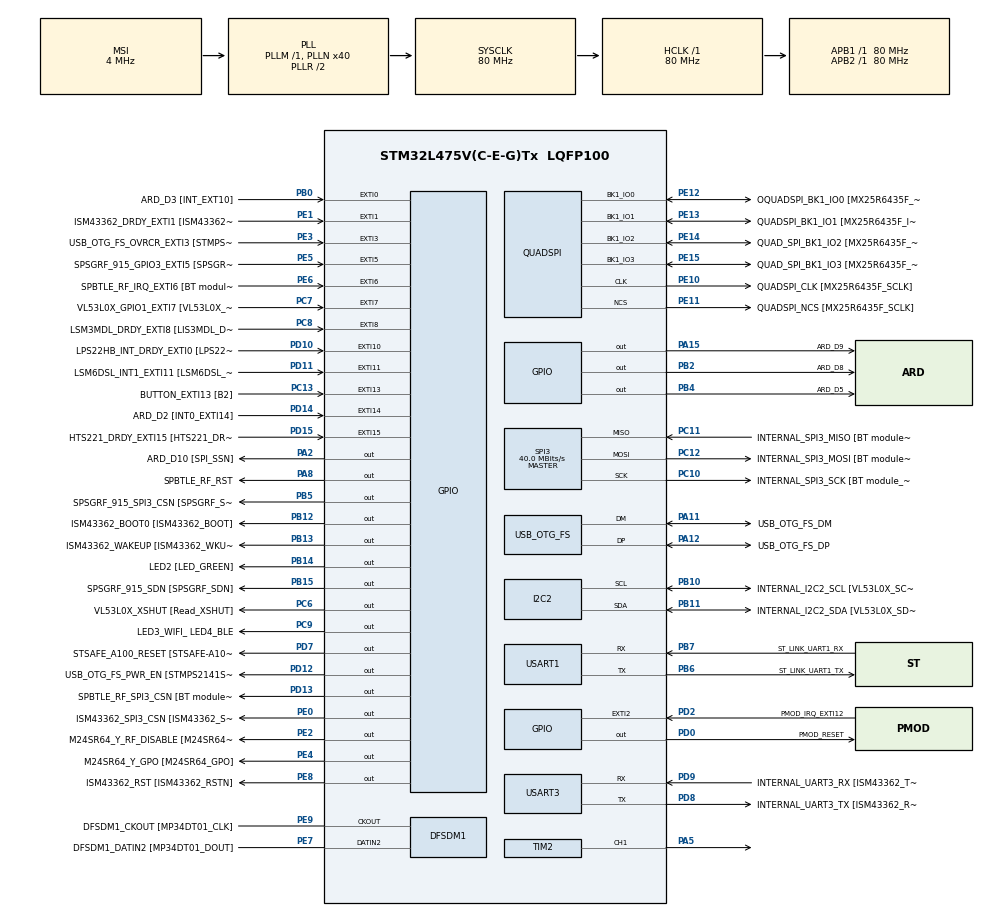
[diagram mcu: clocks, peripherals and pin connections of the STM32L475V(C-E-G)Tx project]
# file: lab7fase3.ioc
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Mcu.Family=STM32L4
Mcu.Name=STM32L475V(C-E-G)Tx
Mcu.Package=LQFP100
NVIC.EXTI15_10_IRQn=true\:0\:0\:false\:false\:true\:true\:true\:true
NVIC.EXTI9_5_IRQn=true\:0\:0\:false\:false\:true\:true\:true\:true
NVIC.OTG_FS_IRQn=true\:0\:0\:false\:false\:true\:true\:true\:true
NVIC.PriorityGroup=NVIC_PRIORITYGROUP_4
PA0.GPIO_Label=ARD_D1 [UART4_TX]
PA0.Signal=UART4_TX
PA1.GPIO_Label=ARD_D0 [UART4_RX]
PA1.Signal=UART4_RX
PA10.GPIO_Label=USB_OTG_FS_ID
PA10.Signal=USB_OTG_FS_ID
PA11.GPIO_Label=USB_OTG_FS_DM
PA11.Mode=Device_Only
PA11.Signal=USB_OTG_FS_DM
PA12.GPIO_Label=USB_OTG_FS_DP
PA12.Mode=Device_Only
PA12.Signal=USB_OTG_FS_DP
PA13\ (JTMS-SWDIO).GPIO_Label=SYS_JTMS_SWDIO
PA13\ (JTMS-SWDIO).Mode=Serial_Wire
PA13\ (JTMS-SWDIO).Signal=SYS_JTMS-SWDIO
PA14\ (JTCK-SWCLK).GPIO_Label=SYS_JTCK_SWCLK
PA14\ (JTCK-SWCLK).Mode=Serial_Wire
PA14\ (JTCK-SWCLK).Signal=SYS_JTCK-SWCLK
PA15\ (JTDI).GPIO_Label=ARD_D9
PA15\ (JTDI).Signal=GPIO_Output
PA2.GPIO_Label=ARD_D10 [SPI_SSN]
PA2.Signal=GPIO_Output
PA3.GPIO_Label=ARD_D4
PA3.Signal=S_TIM2_CH4
PA4.GPIO_Label=ARD_D7
PA4.Signal=ADCx_IN9
PA5.Signal=S_TIM2_CH1
PA6.GPIO_Label=ARD_D12 [SPI1_MISO]
PA6.Signal=SPI1_MISO
PA7.GPIO_Label=ARD_D11 [SPI1_MOSI]
PA7.Signal=SPI1_MOSI
PA8.GPIO_Label=SPBTLE_RF_RST
PA8.Signal=GPIO_Output
PA9.GPIO_Label=USB_OTG_FS_VBUS [STMPS2141STR_OUT]
PA9.Signal=USB_OTG_FS_VBUS
PB0.GPIO_Label=ARD_D3 [INT_EXT10]
PB0.Signal=GPXTI0
PB1.GPIO_Label=ARD_D6 [ADC1_IN6]
PB1.Signal=ADCx_IN16
PB10.GPIO_Label=INTERNAL_I2C2_SCL [VL53L0X_SCL]
PB10.GPIO_Pu=GPIO_PULLUP
PB10.Mode=I2C
PB10.Signal=I2C2_SCL
PB11.GPIO_Label=INTERNAL_I2C2_SDA [VL53L0X_SDA]
PB11.GPIO_Pu=GPIO_PULLUP
PB11.Mode=I2C
PB11.Signal=I2C2_SDA
PB12.GPIO_Label=ISM43362_BOOT0 [ISM43362_BOOT]
PB12.Signal=GPIO_Output
PB13.GPIO_Label=ISM43362_WAKEUP [ISM43362_WKUP]
PB13.Signal=GPIO_Output
PB14.GPIO_Label=LED2 [LED_GREEN]
PB14.Signal=GPIO_Output
PB15.GPIO_Label=SPSGRF_915_SDN [SPSGRF_SDN]
PB15.Signal=GPIO_Output
PB2.GPIO_Label=ARD_D8
PB2.Signal=GPIO_Output
PB3\ (JTDO-TRACESWO).GPIO_Label=SYS_JTD0_SWO
PB3\ (JTDO-TRACESWO).Signal=SYS_JTDO-SWO
PB4\ (NJTRST).GPIO_Label=ARD_D5
PB4\ (NJTRST).Signal=GPIO_Output
PB5.GPIO_Label=SPSGRF_915_SPI3_CSN [SPSGRF_SPI_CS]
PB5.PinState=GPIO_PIN_SET
PB5.Signal=GPIO_Output
PB6.GPIO_Label=ST_LINK_UART1_TX
PB6.Mode=Asynchronous
PB6.Signal=USART1_TX
PB7.GPIO_Label=ST_LINK_UART1_RX
PB7.Mode=Asynchronous
PB7.Signal=USART1_RX
PB8.GPIO_Label=ARD_D15 [I2C1_SCL]
PB8.Signal=I2C1_SCL
PB9.GPIO_Label=ARD_D14 [I2C1_SDA]
PB9.Signal=I2C1_SDA
PC0.GPIO_Label=ARD_A5 [ADC]
PC0.Signal=ADCx_IN1
PC1.GPIO_Label=ARD_A4 [ADC]
PC1.Signal=ADCx_IN2
PC10.GPIO_Label=INTERNAL_SPI3_SCK [BT module_SPI_SCLK] [ISM43362_SCK]
PC10.Mode=Full_Duplex_Master
PC10.Signal=SPI3_SCK
PC11.GPIO_Label=INTERNAL_SPI3_MISO [BT module_SPI_MISO] [ISM43362_MISO]
PC11.Mode=Full_Duplex_Master
PC11.Signal=SPI3_MISO
PC12.GPIO_Label=INTERNAL_SPI3_MOSI [BT module_SPI_MOSI] [ISM43362_MOSI]
PC12.Mode=Full_Duplex_Master
PC12.Signal=SPI3_MOSI
PC13.GPIO_Label=BUTTON_EXTI13 [B2]
PC13.GPIO_ModeDefaultEXTI=GPIO_MODE_IT_FALLING
PC13.Signal=GPXTI13
PC14-OSC32_IN\ (PC14).Mode=LSE-External-Oscillator
PC14-OSC32_IN\ (PC14).Signal=RCC_OSC32_IN
PC15-OSC32_OUT\ (PC15).Mode=LSE-External-Oscillator
PC15-OSC32_OUT\ (PC15).Signal=RCC_OSC32_OUT
PC2.GPIO_Label=ARD_A3 [ADC]
PC2.Signal=ADCx_IN3
PC3.GPIO_Label=ARD_A2 [ADC]
PC3.Signal=ADCx_IN4
PC4.GPIO_Label=ARD_A1 [ADC]
PC4.Signal=ADCx_IN13
PC5.GPIO_Label=ARD_A0 [ADC]
PC5.Signal=ADCx_IN14
PC6.GPIO_Label=VL53L0X_XSHUT [Read_XSHUT]
PC6.Signal=GPIO_Output
PC7.GPIO_Label=VL53L0X_GPIO1_EXTI7 [VL53L0X_GPIO1]
PC7.Signal=GPXTI7
PC8.GPIO_Label=LSM3MDL_DRDY_EXTI8 [LIS3MDL_DRDY]
PC8.Signal=GPXTI8
PC9.GPIO_Label=LED3_WIFI_ LED4_BLE
PC9.Signal=GPIO_Output
PD0.GPIO_Label=PMOD_RESET
PD0.Signal=GPIO_Output
PD1.GPIO_Label=PMOD_SPI2_SCK
PD1.Signal=SPI2_SCK
PD10.GPIO_Label=LPS22HB_INT_DRDY_EXTI0 [LPS22HB_INT_DRDY] 
PD10.Signal=GPXTI10
PD11.GPIO_Label=LSM6DSL_INT1_EXTI11 [LSM6DSL_INT1]
PD11.Signal=GPXTI11
PD12.GPIO_Label=USB_OTG_FS_PWR_EN [STMPS2141STR_EN]
PD12.Signal=GPIO_Output
PD13.GPIO_Label=SPBTLE_RF_SPI3_CSN [BT module_SPI_CS]
PD13.PinState=GPIO_PIN_SET
PD13.Signal=GPIO_Output
PD14.GPIO_Label=ARD_D2 [INT0_EXTI14]
PD14.Signal=GPXTI14
PD15.GPIO_Label=HTS221_DRDY_EXTI15 [HTS221_DRDY]
PD15.Signal=GPXTI15
PD2.GPIO_Label=PMOD_IRQ_EXTI12
PD2.Signal=GPXTI2
PD3.GPIO_Label=PMOD_UART2_CTS
PD3.Signal=USART2_CTS
PD4.GPIO_Label=PMOD_UART2_RTS
PD4.Signal=USART2_RTS
PD5.GPIO_Label=PMOD_UART2_TX
PD5.Signal=USART2_TX
PD6.GPIO_Label=PMOD_UART2_RX
PD6.Signal=USART2_RX
PD7.GPIO_Label=STSAFE_A100_RESET [STSAFE-A100_RESET]
PD7.Signal=GPIO_Output
PD8.GPIO_Label=INTERNAL_UART3_TX [ISM43362_RX]
PD8.Mode=Asynchronous
PD8.Signal=USART3_TX
PD9.GPIO_Label=INTERNAL_UART3_RX [ISM43362_TX]
PD9.Mode=Asynchronous
PD9.Signal=USART3_RX
PE0.GPIO_Label=ISM43362_SPI3_CSN [ISM43362_SSN]
PE0.PinState=GPIO_PIN_SET
PE0.Signal=GPIO_Output
PE1.GPIO_Label=ISM43362_DRDY_EXTI1 [ISM43362_DATARDY]
PE1.Signal=GPXTI1
PE10.GPIO_Label=QUADSPI_CLK [MX25R6435F_SCLK]
PE10.Mode=Single Bank
PE10.Signal=QUADSPI_CLK
PE11.GPIO_Label=QUADSPI_NCS [MX25R6435F_SCLK]
PE11.Mode=Single Bank
PE11.Signal=QUADSPI_NCS
PE12.GPIO_Label=OQUADSPI_BK1_IO0 [MX25R6435F_IO0]
PE12.Mode=Single Bank
PE12.Signal=QUADSPI_BK1_IO0
PE13.GPIO_Label=QUADSPI_BK1_IO1 [MX25R6435F_IO1]
PE13.Mode=Single Bank
PE13.Signal=QUADSPI_BK1_IO1
PE14.GPIO_Label=QUAD_SPI_BK1_IO2 [MX25R6435F_IO2]
PE14.Mode=Single Bank
PE14.Signal=QUADSPI_BK1_IO2
PE15.GPIO_Label=QUAD_SPI_BK1_IO3 [MX25R6435F_IO3]
PE15.Mode=Single Bank
PE15.Signal=QUADSPI_BK1_IO3
PE2.GPIO_Label=M24SR64_Y_RF_DISABLE [M24SR64_RFDIS]
PE2.Signal=GPIO_Output
PE3.GPIO_Label=USB_OTG_FS_OVRCR_EXTI3 [STMPS2141STR_FAULT]
PE3.Signal=GPXTI3
PE4.GPIO_Label=M24SR64_Y_GPO [M24SR64_GPO]
PE4.Signal=GPIO_Output
PE5.GPIO_Label=SPSGRF_915_GPIO3_EXTI5 [SPSGRF_GPIO_3]
PE5.Signal=GPXTI5
PE6.GPIO_Label=SPBTLE_RF_IRQ_EXTI6 [BT module_SPI_IRQ]
PE6.Signal=GPXTI6
PE7.GPIO_Label=DFSDM1_DATIN2 [MP34DT01_DOUT]
PE7.Signal=S_DATAIN2DFSDM1
PE8.GPIO_Label=ISM43362_RST [ISM43362_RSTN]
PE8.Signal=GPIO_Output
PE9.GPIO_Label=DFSDM1_CKOUT [MP34DT01_CLK]
PE9.Signal=S_CKOUTDFSDM1
ProjectManager.HeapSize=0x200
ProjectManager.StackSize=0x400
ProjectManager.TargetToolchain=STM32CubeIDE
QUADSPI.ClockPrescaler=2
QUADSPI.FifoThreshold=4
QUADSPI.FlashSize=23
QUADSPI.SampleShifting=QSPI_SAMPLE_SHIFTING_HALFCYCLE
RCC.ADCFreq_Value=48000000
RCC.AHBFreq_Value=80000000
RCC.APB1Freq_Value=80000000
RCC.APB1TimFreq_Value=80000000
RCC.APB2Freq_Value=80000000
RCC.APB2TimFreq_Value=80000000
RCC.CortexFreq_Value=80000000
RCC.HCLKFreq_Value=80000000
RCC.HSE_VALUE=8000000
RCC.HSI_VALUE=16000000
RCC.MSI_VALUE=4000000
RCC.PLLN=40
RCC.PLLSAI1N=24
RCC.SYSCLKFreq_VALUE=80000000
RCC.SYSCLKSource=RCC_SYSCLKSOURCE_PLLCLK
RCC.USBFreq_Value=48000000
RCC.VCOOutputFreq_Value=160000000
SH.ADCx_IN1.0=ADC1_IN1
SH.ADCx_IN13.0=ADC1_IN13
SH.ADCx_IN14.0=ADC1_IN14
SH.ADCx_IN16.0=ADC1_IN16
SH.ADCx_IN2.0=ADC1_IN2
SH.ADCx_IN3.0=ADC1_IN3
SH.ADCx_IN4.0=ADC1_IN4
SH.ADCx_IN9.0=ADC1_IN9
SH.S_CKOUTDFSDM1.0=DFSDM1_CKOUT,CKOUT
SH.S_CKOUTDFSDM1.1=DFSDM1_CKOUT,PDM_SPI_Input_from_ch12_and_Internal_Clock
SH.S_DATAIN2DFSDM1.0=DFSDM1_DATIN2,PDM_SPI_Input_from_ch12_and_Internal_Clock
SH.S_TIM2_CH1.0=TIM2_CH1,PWM Generation1 CH1
SH.S_TIM2_CH4.0=TIM2_CH4
SPI3.CalculateBaudRate=40.0 MBits/s
SPI3.Direction=SPI_DIRECTION_2LINES
SPI3.Mode=SPI_MODE_MASTER
SPI3.VirtualType=VM_MASTER
TIM2.Channel-PWM\ Generation1\ CH1=TIM_CHANNEL_1
TIM2.CounterMode=TIM_COUNTERMODE_DOWN
TIM2.Period=1000
USART1.VirtualMode-Asynchronous=VM_ASYNC
USART3.VirtualMode-Asynchronous=VM_ASYNC
USB_DEVICE.CLASS_NAME_FS=CUSTOM_HID
USB_DEVICE.CONFIGURATION_STRING_CUSTOMHID_FS=Midi mio config
USB_DEVICE.INTERFACE_STRING_CUSTOMHID_FS=Midi mio interface
USB_DEVICE.PRODUCT_STRING_CUSTOMHID_FS=Midi mio producto
USB_DEVICE.VirtualMode=CustomHid
USB_DEVICE.VirtualModeFS=Custom_Hid_FS
USB_OTG_FS.VirtualMode=Device_Only
VP_USB_DEVICE_VS_USB_DEVICE_CUSTOM_HID_FS.Mode=CUSTOM_HID_FS
board=B-L475E-IOT01A1

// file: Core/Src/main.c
/* USER CODE BEGIN Header */
/**
  ******************************************************************************
  * @file           : main.c
  * @brief          : Main program body
  ******************************************************************************
  * @attention
  *
  * Copyright (c) 2026 STMicroelectronics.
  * All rights reserved.
  *
  * This software is licensed under terms that can be found in the LICENSE file
  * in the root directory of this software component.
  * If no LICENSE file comes with this software, it is provided AS-IS.
  *
  ******************************************************************************
  */
/* USER CODE END Header */
#include "main.h"
#include "usb_device.h"

/* USER CODE BEGIN Includes */
#include "usbd_midi.h"
#include "LSM6DSL.h"
#include "math.h"
/* USER CODE END Includes */

DFSDM_Channel_HandleTypeDef hdfsdm1_channel1;

I2C_HandleTypeDef hi2c2;

QSPI_HandleTypeDef hqspi;

SPI_HandleTypeDef hspi3;

TIM_HandleTypeDef htim2;

UART_HandleTypeDef huart1;
UART_HandleTypeDef huart3;

/* USER CODE BEGIN PV */
extern USBD_HandleTypeDef hUsbDeviceFS;
volatile int16_t x;
volatile int16_t y;
volatile int16_t z;
volatile float magnitud_golpe;
volatile uint8_t velocidad_midi;
/* USER CODE END PV */

void SystemClock_Config(void);
static void MX_GPIO_Init(void);
static void MX_DFSDM1_Init(void);
static void MX_I2C2_Init(void);
static void MX_QUADSPI_Init(void);
static void MX_SPI3_Init(void);
static void MX_USART1_UART_Init(void);
static void MX_USART3_UART_Init(void);
static void MX_TIM2_Init(void);
/* USER CODE BEGIN PFP */
void Transmision_nota_on(uint8_t nota, uint8_t velocidad, uint8_t canal);
void Transmision_nota_off(uint8_t nota, uint8_t velocidad, uint8_t canal);
void Transmision_programchange (uint8_t programa);
void Transmision_controlchange(uint8_t numcontrolador, uint8_t valorcontrolador);
/* USER CODE END PFP */

int main(void)
{

  /* MCU Configuration--------------------------------------------------------*/

  /* Reset of all peripherals, Initializes the Flash interface and the Systick. */
  HAL_Init();

  /* Configure the system clock */
  SystemClock_Config();

  /* Initialize all configured peripherals */
  MX_GPIO_Init();
  MX_DFSDM1_Init();
  MX_I2C2_Init();
  MX_QUADSPI_Init();
  MX_SPI3_Init();
  MX_USART1_UART_Init();
  MX_USART3_UART_Init();
  MX_USB_DEVICE_Init();
  MX_TIM2_Init();
  /* USER CODE BEGIN 2 */
  //uint8_t mibuf1[4]={0x09,0x90,60,80}; //nota ON 60 con velocidad 80
  //uint8_t mibuf2[4]={0x08,0x80,60,80}; //nota OFF 60 con velocidad 80
  LSM6DSL_Init();
  /* USER CODE END 2 */

  /* Infinite loop */
  /* USER CODE BEGIN WHILE */

  while (1)
  {
	  // 1. Leemos el acelerómetro.
	  	  x = LSM6DSL_ReadAccel(0);
	  	  y = LSM6DSL_ReadAccel(1);
	  	  z = LSM6DSL_ReadAccel(2);

	      // 2. Calcular la fuerza del movimiento (podemos sumar el valor absoluto de los ejes o usar la Z)
	      // Para no usar raíces cuadradas que consumen mucho, aproximamos la fuerza:
	      magnitud_golpe = abs(x) + abs(y) + abs(z);

	      // 3. Filtrar la gravedad en reposo y detectar un golpe fuerte (ajusta el número "1500" a tu placa)
	      if (magnitud_golpe > 1500) {

	          // 4. Mapear el golpe (ej. de 1500 a 4400) a la escala MIDI de velocidad (0 a 127)
	          velocidad_midi = (uint8_t)((magnitud_golpe - 1500) * 127 / 4400);
	          if (velocidad_midi > 127) velocidad_midi = 127; // Saturamos al máximo permitido

	          // 5. Enviar el golpe.
	          // Nota 38 = Caja acustica (Cowbell), Canal 9 = Canal 10 de percusión MIDI.
	          Transmision_nota_on(38, velocidad_midi, 9);

	          // Un pequeño retardo para que el "golpe" dure y no enviemos miles de mensajes seguidos
	          HAL_Delay(50);

	          // Apagamos la nota
	          Transmision_nota_off(38, 0, 9);

	          // Retardo para evitar "rebotes" (que cuente un solo golpe como varios)
	          HAL_Delay(150);
	      }
		/*if (USBD_MIDI_GetState(&hUsbDeviceFS) == MIDI_IDLE) {
			USBD_MIDI_SendReport(&hUsbDeviceFS, mibuf1, 4);
			HAL_Delay(1000);
			USBD_MIDI_SendReport(&hUsbDeviceFS, mibuf2, 4);
			HAL_Delay(1000);
		}*/
    /* USER CODE END WHILE */

  }
}

void SystemClock_Config(void)
{
  RCC_OscInitTypeDef RCC_OscInitStruct = {0};
  RCC_ClkInitTypeDef RCC_ClkInitStruct = {0};

  /** Configure the main internal regulator output voltage
  */
  if (HAL_PWREx_ControlVoltageScaling(PWR_REGULATOR_VOLTAGE_SCALE1) != HAL_OK)
  {
    Error_Handler();
  }

  /** Configure LSE Drive Capability
  */
  HAL_PWR_EnableBkUpAccess();
  __HAL_RCC_LSEDRIVE_CONFIG(RCC_LSEDRIVE_LOW);

  /** Initializes the RCC Oscillators according to the specified parameters
  * in the RCC_OscInitTypeDef structure.
  */
  RCC_OscInitStruct.OscillatorType = RCC_OSCILLATORTYPE_LSE|RCC_OSCILLATORTYPE_MSI;
  RCC_OscInitStruct.LSEState = RCC_LSE_ON;
  RCC_OscInitStruct.MSIState = RCC_MSI_ON;
  RCC_OscInitStruct.MSICalibrationValue = 0;
  RCC_OscInitStruct.MSIClockRange = RCC_MSIRANGE_6;
  RCC_OscInitStruct.PLL.PLLState = RCC_PLL_ON;
  RCC_OscInitStruct.PLL.PLLSource = RCC_PLLSOURCE_MSI;
  RCC_OscInitStruct.PLL.PLLM = 1;
  RCC_OscInitStruct.PLL.PLLN = 40;
  RCC_OscInitStruct.PLL.PLLP = RCC_PLLP_DIV7;
  RCC_OscInitStruct.PLL.PLLQ = RCC_PLLQ_DIV2;
  RCC_OscInitStruct.PLL.PLLR = RCC_PLLR_DIV2;
  if (HAL_RCC_OscConfig(&RCC_OscInitStruct) != HAL_OK)
  {
    Error_Handler();
  }

  /** Initializes the CPU, AHB and APB buses clocks
  */
  RCC_ClkInitStruct.ClockType = RCC_CLOCKTYPE_HCLK|RCC_CLOCKTYPE_SYSCLK
                              |RCC_CLOCKTYPE_PCLK1|RCC_CLOCKTYPE_PCLK2;
  RCC_ClkInitStruct.SYSCLKSource = RCC_SYSCLKSOURCE_PLLCLK;
  RCC_ClkInitStruct.AHBCLKDivider = RCC_SYSCLK_DIV1;
  RCC_ClkInitStruct.APB1CLKDivider = RCC_HCLK_DIV1;
  RCC_ClkInitStruct.APB2CLKDivider = RCC_HCLK_DIV1;

  if (HAL_RCC_ClockConfig(&RCC_ClkInitStruct, FLASH_LATENCY_4) != HAL_OK)
  {
    Error_Handler();
  }

  /** Enable MSI Auto calibration
  */
  HAL_RCCEx_EnableMSIPLLMode();
}

static void MX_DFSDM1_Init(void)
{

  hdfsdm1_channel1.Instance = DFSDM1_Channel1;
  hdfsdm1_channel1.Init.OutputClock.Activation = ENABLE;
  hdfsdm1_channel1.Init.OutputClock.Selection = DFSDM_CHANNEL_OUTPUT_CLOCK_SYSTEM;
  hdfsdm1_channel1.Init.OutputClock.Divider = 2;
  hdfsdm1_channel1.Init.Input.Multiplexer = DFSDM_CHANNEL_EXTERNAL_INPUTS;
  hdfsdm1_channel1.Init.Input.DataPacking = DFSDM_CHANNEL_STANDARD_MODE;
  hdfsdm1_channel1.Init.Input.Pins = DFSDM_CHANNEL_FOLLOWING_CHANNEL_PINS;
  hdfsdm1_channel1.Init.SerialInterface.Type = DFSDM_CHANNEL_SPI_RISING;
  hdfsdm1_channel1.Init.SerialInterface.SpiClock = DFSDM_CHANNEL_SPI_CLOCK_INTERNAL;
  hdfsdm1_channel1.Init.Awd.FilterOrder = DFSDM_CHANNEL_FASTSINC_ORDER;
  hdfsdm1_channel1.Init.Awd.Oversampling = 1;
  hdfsdm1_channel1.Init.Offset = 0;
  hdfsdm1_channel1.Init.RightBitShift = 0x00;
  if (HAL_DFSDM_ChannelInit(&hdfsdm1_channel1) != HAL_OK)
  {
    Error_Handler();
  }

}

static void MX_I2C2_Init(void)
{

  hi2c2.Instance = I2C2;
  hi2c2.Init.Timing = 0x00000E14;
  hi2c2.Init.OwnAddress1 = 0;
  hi2c2.Init.AddressingMode = I2C_ADDRESSINGMODE_7BIT;
  hi2c2.Init.DualAddressMode = I2C_DUALADDRESS_DISABLE;
  hi2c2.Init.OwnAddress2 = 0;
  hi2c2.Init.OwnAddress2Masks = I2C_OA2_NOMASK;
  hi2c2.Init.GeneralCallMode = I2C_GENERALCALL_DISABLE;
  hi2c2.Init.NoStretchMode = I2C_NOSTRETCH_DISABLE;
  if (HAL_I2C_Init(&hi2c2) != HAL_OK)
  {
    Error_Handler();
  }

  /** Configure Analogue filter
  */
  if (HAL_I2CEx_ConfigAnalogFilter(&hi2c2, I2C_ANALOGFILTER_ENABLE) != HAL_OK)
  {
    Error_Handler();
  }

  /** Configure Digital filter
  */
  if (HAL_I2CEx_ConfigDigitalFilter(&hi2c2, 0) != HAL_OK)
  {
    Error_Handler();
  }

}

static void MX_QUADSPI_Init(void)
{

  /* QUADSPI parameter configuration*/
  hqspi.Instance = QUADSPI;
  hqspi.Init.ClockPrescaler = 2;
  hqspi.Init.FifoThreshold = 4;
  hqspi.Init.SampleShifting = QSPI_SAMPLE_SHIFTING_HALFCYCLE;
  hqspi.Init.FlashSize = 23;
  hqspi.Init.ChipSelectHighTime = QSPI_CS_HIGH_TIME_1_CYCLE;
  hqspi.Init.ClockMode = QSPI_CLOCK_MODE_0;
  if (HAL_QSPI_Init(&hqspi) != HAL_OK)
  {
    Error_Handler();
  }

}

static void MX_SPI3_Init(void)
{

  /* SPI3 parameter configuration*/
  hspi3.Instance = SPI3;
  hspi3.Init.Mode = SPI_MODE_MASTER;
  hspi3.Init.Direction = SPI_DIRECTION_2LINES;
  hspi3.Init.DataSize = SPI_DATASIZE_4BIT;
  hspi3.Init.CLKPolarity = SPI_POLARITY_LOW;
  hspi3.Init.CLKPhase = SPI_PHASE_1EDGE;
  hspi3.Init.NSS = SPI_NSS_SOFT;
  hspi3.Init.BaudRatePrescaler = SPI_BAUDRATEPRESCALER_2;
  hspi3.Init.FirstBit = SPI_FIRSTBIT_MSB;
  hspi3.Init.TIMode = SPI_TIMODE_DISABLE;
  hspi3.Init.CRCCalculation = SPI_CRCCALCULATION_DISABLE;
  hspi3.Init.CRCPolynomial = 7;
  hspi3.Init.CRCLength = SPI_CRC_LENGTH_DATASIZE;
  hspi3.Init.NSSPMode = SPI_NSS_PULSE_ENABLE;
  if (HAL_SPI_Init(&hspi3) != HAL_OK)
  {
    Error_Handler();
  }

}

static void MX_TIM2_Init(void)
{

  TIM_MasterConfigTypeDef sMasterConfig = {0};
  TIM_OC_InitTypeDef sConfigOC = {0};

  htim2.Instance = TIM2;
  htim2.Init.Prescaler = 0;
  htim2.Init.CounterMode = TIM_COUNTERMODE_DOWN;
  htim2.Init.Period = 1000;
  htim2.Init.ClockDivision = TIM_CLOCKDIVISION_DIV1;
  htim2.Init.AutoReloadPreload = TIM_AUTORELOAD_PRELOAD_DISABLE;
  if (HAL_TIM_PWM_Init(&htim2) != HAL_OK)
  {
    Error_Handler();
  }
  sMasterConfig.MasterOutputTrigger = TIM_TRGO_RESET;
  sMasterConfig.MasterSlaveMode = TIM_MASTERSLAVEMODE_DISABLE;
  if (HAL_TIMEx_MasterConfigSynchronization(&htim2, &sMasterConfig) != HAL_OK)
  {
    Error_Handler();
  }
  sConfigOC.OCMode = TIM_OCMODE_PWM1;
  sConfigOC.Pulse = 0;
  sConfigOC.OCPolarity = TIM_OCPOLARITY_HIGH;
  sConfigOC.OCFastMode = TIM_OCFAST_DISABLE;
  if (HAL_TIM_PWM_ConfigChannel(&htim2, &sConfigOC, TIM_CHANNEL_1) != HAL_OK)
  {
    Error_Handler();
  }
  HAL_TIM_MspPostInit(&htim2);

}

static void MX_USART1_UART_Init(void)
{

  huart1.Instance = USART1;
  huart1.Init.BaudRate = 115200;
  huart1.Init.WordLength = UART_WORDLENGTH_8B;
  huart1.Init.StopBits = UART_STOPBITS_1;
  huart1.Init.Parity = UART_PARITY_NONE;
  huart1.Init.Mode = UART_MODE_TX_RX;
  huart1.Init.HwFlowCtl = UART_HWCONTROL_NONE;
  huart1.Init.OverSampling = UART_OVERSAMPLING_16;
  huart1.Init.OneBitSampling = UART_ONE_BIT_SAMPLE_DISABLE;
  huart1.AdvancedInit.AdvFeatureInit = UART_ADVFEATURE_NO_INIT;
  if (HAL_UART_Init(&huart1) != HAL_OK)
  {
    Error_Handler();
  }

}

static void MX_USART3_UART_Init(void)
{

  huart3.Instance = USART3;
  huart3.Init.BaudRate = 115200;
  huart3.Init.WordLength = UART_WORDLENGTH_8B;
  huart3.Init.StopBits = UART_STOPBITS_1;
  huart3.Init.Parity = UART_PARITY_NONE;
  huart3.Init.Mode = UART_MODE_TX_RX;
  huart3.Init.HwFlowCtl = UART_HWCONTROL_NONE;
  huart3.Init.OverSampling = UART_OVERSAMPLING_16;
  huart3.Init.OneBitSampling = UART_ONE_BIT_SAMPLE_DISABLE;
  huart3.AdvancedInit.AdvFeatureInit = UART_ADVFEATURE_NO_INIT;
  if (HAL_UART_Init(&huart3) != HAL_OK)
  {
    Error_Handler();
  }

}

static void MX_GPIO_Init(void)
{
  GPIO_InitTypeDef GPIO_InitStruct = {0};

  /* GPIO Ports Clock Enable */
  __HAL_RCC_GPIOE_CLK_ENABLE();
  __HAL_RCC_GPIOC_CLK_ENABLE();
  __HAL_RCC_GPIOA_CLK_ENABLE();
  __HAL_RCC_GPIOB_CLK_ENABLE();
  __HAL_RCC_GPIOD_CLK_ENABLE();

  /*Configure GPIO pin Output Level */
  HAL_GPIO_WritePin(GPIOE, M24SR64_Y_RF_DISABLE_Pin|M24SR64_Y_GPO_Pin|ISM43362_RST_Pin, GPIO_PIN_RESET);

  /*Configure GPIO pin Output Level */
  HAL_GPIO_WritePin(GPIOA, ARD_D10_Pin|SPBTLE_RF_RST_Pin|ARD_D9_Pin, GPIO_PIN_RESET);

  /*Configure GPIO pin Output Level */
  HAL_GPIO_WritePin(GPIOB, ARD_D8_Pin|ISM43362_BOOT0_Pin|ISM43362_WAKEUP_Pin|LED2_Pin
                          |SPSGRF_915_SDN_Pin|ARD_D5_Pin, GPIO_PIN_RESET);

  /*Configure GPIO pin Output Level */
  HAL_GPIO_WritePin(GPIOD, USB_OTG_FS_PWR_EN_Pin|PMOD_RESET_Pin|STSAFE_A100_RESET_Pin, GPIO_PIN_RESET);

  /*Configure GPIO pin Output Level */
  HAL_GPIO_WritePin(SPBTLE_RF_SPI3_CSN_GPIO_Port, SPBTLE_RF_SPI3_CSN_Pin, GPIO_PIN_SET);

  /*Configure GPIO pin Output Level */
  HAL_GPIO_WritePin(GPIOC, VL53L0X_XSHUT_Pin|LED3_WIFI__LED4_BLE_Pin, GPIO_PIN_RESET);

  /*Configure GPIO pin Output Level */
  HAL_GPIO_WritePin(SPSGRF_915_SPI3_CSN_GPIO_Port, SPSGRF_915_SPI3_CSN_Pin, GPIO_PIN_SET);

  /*Configure GPIO pin Output Level */
  HAL_GPIO_WritePin(ISM43362_SPI3_CSN_GPIO_Port, ISM43362_SPI3_CSN_Pin, GPIO_PIN_SET);

  /*Configure GPIO pins : M24SR64_Y_RF_DISABLE_Pin M24SR64_Y_GPO_Pin ISM43362_RST_Pin ISM43362_SPI3_CSN_Pin */
  GPIO_InitStruct.Pin = M24SR64_Y_RF_DISABLE_Pin|M24SR64_Y_GPO_Pin|ISM43362_RST_Pin|ISM43362_SPI3_CSN_Pin;
  GPIO_InitStruct.Mode = GPIO_MODE_OUTPUT_PP;
  GPIO_InitStruct.Pull = GPIO_NOPULL;
  GPIO_InitStruct.Speed = GPIO_SPEED_FREQ_LOW;
  HAL_GPIO_Init(GPIOE, &GPIO_InitStruct);

  /*Configure GPIO pins : USB_OTG_FS_OVRCR_EXTI3_Pin SPSGRF_915_GPIO3_EXTI5_Pin SPBTLE_RF_IRQ_EXTI6_Pin ISM43362_DRDY_EXTI1_Pin */
  GPIO_InitStruct.Pin = USB_OTG_FS_OVRCR_EXTI3_Pin|SPSGRF_915_GPIO3_EXTI5_Pin|SPBTLE_RF_IRQ_EXTI6_Pin|ISM43362_DRDY_EXTI1_Pin;
  GPIO_InitStruct.Mode = GPIO_MODE_IT_RISING;
  GPIO_InitStruct.Pull = GPIO_NOPULL;
  HAL_GPIO_Init(GPIOE, &GPIO_InitStruct);

  /*Configure GPIO pin : BUTTON_EXTI13_Pin */
  GPIO_InitStruct.Pin = BUTTON_EXTI13_Pin;
  GPIO_InitStruct.Mode = GPIO_MODE_IT_FALLING;
  GPIO_InitStruct.Pull = GPIO_NOPULL;
  HAL_GPIO_Init(BUTTON_EXTI13_GPIO_Port, &GPIO_InitStruct);

  /*Configure GPIO pins : ARD_A5_Pin ARD_A4_Pin ARD_A3_Pin ARD_A2_Pin
                           ARD_A1_Pin ARD_A0_Pin */
  GPIO_InitStruct.Pin = ARD_A5_Pin|ARD_A4_Pin|ARD_A3_Pin|ARD_A2_Pin
                          |ARD_A1_Pin|ARD_A0_Pin;
  GPIO_InitStruct.Mode = GPIO_MODE_ANALOG_ADC_CONTROL;
  GPIO_InitStruct.Pull = GPIO_NOPULL;
  HAL_GPIO_Init(GPIOC, &GPIO_InitStruct);

  /*Configure GPIO pins : ARD_D1_Pin ARD_D0_Pin */
  GPIO_InitStruct.Pin = ARD_D1_Pin|ARD_D0_Pin;
  GPIO_InitStruct.Mode = GPIO_MODE_AF_PP;
  GPIO_InitStruct.Pull = GPIO_NOPULL;
  GPIO_InitStruct.Speed = GPIO_SPEED_FREQ_VERY_HIGH;
  GPIO_InitStruct.Alternate = GPIO_AF8_UART4;
  HAL_GPIO_Init(GPIOA, &GPIO_InitStruct);

  /*Configure GPIO pins : ARD_D10_Pin SPBTLE_RF_RST_Pin ARD_D9_Pin */
  GPIO_InitStruct.Pin = ARD_D10_Pin|SPBTLE_RF_RST_Pin|ARD_D9_Pin;
  GPIO_InitStruct.Mode = GPIO_MODE_OUTPUT_PP;
  GPIO_InitStruct.Pull = GPIO_NOPULL;
  GPIO_InitStruct.Speed = GPIO_SPEED_FREQ_LOW;
  HAL_GPIO_Init(GPIOA, &GPIO_InitStruct);

  /*Configure GPIO pin : ARD_D7_Pin */
  GPIO_InitStruct.Pin = ARD_D7_Pin;
  GPIO_InitStruct.Mode = GPIO_MODE_ANALOG_ADC_CONTROL;
  GPIO_InitStruct.Pull = GPIO_NOPULL;
  HAL_GPIO_Init(ARD_D7_GPIO_Port, &GPIO_InitStruct);

  /*Configure GPIO pins : ARD_D12_Pin ARD_D11_Pin */
  GPIO_InitStruct.Pin = ARD_D12_Pin|ARD_D11_Pin;
  GPIO_InitStruct.Mode = GPIO_MODE_AF_PP;
  GPIO_InitStruct.Pull = GPIO_NOPULL;
  GPIO_InitStruct.Speed = GPIO_SPEED_FREQ_VERY_HIGH;
  GPIO_InitStruct.Alternate = GPIO_AF5_SPI1;
  HAL_GPIO_Init(GPIOA, &GPIO_InitStruct);

  /*Configure GPIO pin : ARD_D3_Pin */
  GPIO_InitStruct.Pin = ARD_D3_Pin;
  GPIO_InitStruct.Mode = GPIO_MODE_IT_RISING;
  GPIO_InitStruct.Pull = GPIO_NOPULL;
  HAL_GPIO_Init(ARD_D3_GPIO_Port, &GPIO_InitStruct);

  /*Configure GPIO pin : ARD_D6_Pin */
  GPIO_InitStruct.Pin = ARD_D6_Pin;
  GPIO_InitStruct.Mode = GPIO_MODE_ANALOG_ADC_CONTROL;
  GPIO_InitStruct.Pull = GPIO_NOPULL;
  HAL_GPIO_Init(ARD_D6_GPIO_Port, &GPIO_InitStruct);

  /*Configure GPIO pins : ARD_D8_Pin ISM43362_BOOT0_Pin ISM43362_WAKEUP_Pin LED2_Pin
                           SPSGRF_915_SDN_Pin ARD_D5_Pin SPSGRF_915_SPI3_CSN_Pin */
  GPIO_InitStruct.Pin = ARD_D8_Pin|ISM43362_BOOT0_Pin|ISM43362_WAKEUP_Pin|LED2_Pin
                          |SPSGRF_915_SDN_Pin|ARD_D5_Pin|SPSGRF_915_SPI3_CSN_Pin;
  GPIO_InitStruct.Mode = GPIO_MODE_OUTPUT_PP;
  GPIO_InitStruct.Pull = GPIO_NOPULL;
  GPIO_InitStruct.Speed = GPIO_SPEED_FREQ_LOW;
  HAL_GPIO_Init(GPIOB, &GPIO_InitStruct);

  /*Configure GPIO pins : LPS22HB_INT_DRDY_EXTI0_Pin LSM6DSL_INT1_EXTI11_Pin ARD_D2_Pin HTS221_DRDY_EXTI15_Pin
                           PMOD_IRQ_EXTI12_Pin */
  GPIO_InitStruct.Pin = LPS22HB_INT_DRDY_EXTI0_Pin|LSM6DSL_INT1_EXTI11_Pin|ARD_D2_Pin|HTS221_DRDY_EXTI15_Pin
                          |PMOD_IRQ_EXTI12_Pin;
  GPIO_InitStruct.Mode = GPIO_MODE_IT_RISING;
  GPIO_InitStruct.Pull = GPIO_NOPULL;
  HAL_GPIO_Init(GPIOD, &GPIO_InitStruct);

  /*Configure GPIO pins : USB_OTG_FS_PWR_EN_Pin SPBTLE_RF_SPI3_CSN_Pin PMOD_RESET_Pin STSAFE_A100_RESET_Pin */
  GPIO_InitStruct.Pin = USB_OTG_FS_PWR_EN_Pin|SPBTLE_RF_SPI3_CSN_Pin|PMOD_RESET_Pin|STSAFE_A100_RESET_Pin;
  GPIO_InitStruct.Mode = GPIO_MODE_OUTPUT_PP;
  GPIO_InitStruct.Pull = GPIO_NOPULL;
  GPIO_InitStruct.Speed = GPIO_SPEED_FREQ_LOW;
  HAL_GPIO_Init(GPIOD, &GPIO_InitStruct);

  /*Configure GPIO pins : VL53L0X_XSHUT_Pin LED3_WIFI__LED4_BLE_Pin */
  GPIO_InitStruct.Pin = VL53L0X_XSHUT_Pin|LED3_WIFI__LED4_BLE_Pin;
  GPIO_InitStruct.Mode = GPIO_MODE_OUTPUT_PP;
  GPIO_InitStruct.Pull = GPIO_NOPULL;
  GPIO_InitStruct.Speed = GPIO_SPEED_FREQ_LOW;
  HAL_GPIO_Init(GPIOC, &GPIO_InitStruct);

  /*Configure GPIO pins : VL53L0X_GPIO1_EXTI7_Pin LSM3MDL_DRDY_EXTI8_Pin */
  GPIO_InitStruct.Pin = VL53L0X_GPIO1_EXTI7_Pin|LSM3MDL_DRDY_EXTI8_Pin;
  GPIO_InitStruct.Mode = GPIO_MODE_IT_RISING;
  GPIO_InitStruct.Pull = GPIO_NOPULL;
  HAL_GPIO_Init(GPIOC, &GPIO_InitStruct);

  /*Configure GPIO pin : PMOD_SPI2_SCK_Pin */
  GPIO_InitStruct.Pin = PMOD_SPI2_SCK_Pin;
  GPIO_InitStruct.Mode = GPIO_MODE_AF_PP;
  GPIO_InitStruct.Pull = GPIO_NOPULL;
  GPIO_InitStruct.Speed = GPIO_SPEED_FREQ_VERY_HIGH;
  GPIO_InitStruct.Alternate = GPIO_AF5_SPI2;
  HAL_GPIO_Init(PMOD_SPI2_SCK_GPIO_Port, &GPIO_InitStruct);

  /*Configure GPIO pins : PMOD_UART2_CTS_Pin PMOD_UART2_RTS_Pin PMOD_UART2_TX_Pin PMOD_UART2_RX_Pin */
  GPIO_InitStruct.Pin = PMOD_UART2_CTS_Pin|PMOD_UART2_RTS_Pin|PMOD_UART2_TX_Pin|PMOD_UART2_RX_Pin;
  GPIO_InitStruct.Mode = GPIO_MODE_AF_PP;
  GPIO_InitStruct.Pull = GPIO_NOPULL;
  GPIO_InitStruct.Speed = GPIO_SPEED_FREQ_VERY_HIGH;
  GPIO_InitStruct.Alternate = GPIO_AF7_USART2;
  HAL_GPIO_Init(GPIOD, &GPIO_InitStruct);

  /*Configure GPIO pins : ARD_D15_Pin ARD_D14_Pin */
  GPIO_InitStruct.Pin = ARD_D15_Pin|ARD_D14_Pin;
  GPIO_InitStruct.Mode = GPIO_MODE_AF_OD;
  GPIO_InitStruct.Pull = GPIO_NOPULL;
  GPIO_InitStruct.Speed = GPIO_SPEED_FREQ_VERY_HIGH;
  GPIO_InitStruct.Alternate = GPIO_AF4_I2C1;
  HAL_GPIO_Init(GPIOB, &GPIO_InitStruct);

  /* EXTI interrupt init*/
  HAL_NVIC_SetPriority(EXTI9_5_IRQn, 0, 0);
  HAL_NVIC_EnableIRQ(EXTI9_5_IRQn);

  HAL_NVIC_SetPriority(EXTI15_10_IRQn, 0, 0);
  HAL_NVIC_EnableIRQ(EXTI15_10_IRQn);

}

/* USER CODE BEGIN 4 */
void USBD_MIDI_DataInHandler(uint8_t *usb_rx_buffer, uint8_t usb_rx_buffer_length)
{
    uint8_t message, channel, nota, velocidad;

    while (usb_rx_buffer_length && *usb_rx_buffer != 0x00)
    {
        // Extraemos los datos del paquete MIDI
        message = usb_rx_buffer[1] >> 4;
        channel = usb_rx_buffer[1] & 0x0F;
        nota = usb_rx_buffer[2];
        velocidad = usb_rx_buffer[3];

        // Avanzamos el puntero para leer el siguiente paquete si lo hay
        usb_rx_buffer += 4;
        usb_rx_buffer_length -= 4;

        // Si es un mensaje NOTE ON (0x9) y la velocidad (volumen) es mayor que 0
        if (message == 0x9 && velocidad > 0) {

            // 1. Calcular la frecuencia de la nota (fórmula matemática de la música)
            float frecuencia = 440.0f * pow(2.0f, ((nota - 69) / 12.0f));

            // 2. Calcular el periodo para el Timer (Sabiendo que el reloj va a 80MHz)
            uint32_t ciclosperiodo = (uint32_t)(80000000.0f / frecuencia);

            // 3. Calculo el ciclo de trabajo para el volumen.
            uint32_t ciclosAlto = (ciclosperiodo / 2) * velocidad / 127;

            // 4. Escribir los valores en los registros del Timer 2
            __HAL_TIM_SET_AUTORELOAD(&htim2, ciclosperiodo);
            __HAL_TIM_SET_COMPARE(&htim2, TIM_CHANNEL_1, ciclosAlto);

            // 5. Arrancar el Timer 2 en modo PWM
            HAL_TIM_PWM_Start(&htim2, TIM_CHANNEL_1);

        }
        // Si es un mensaje NOTE OFF (0x8) o un NOTE ON con velocidad 0
        else if (message == 0x8 || (message == 0x9 && velocidad == 0)) {

            // Silenciamos el altavoz poniendo el ciclo de trabajo a 0
            __HAL_TIM_SET_COMPARE(&htim2, TIM_CHANNEL_1, 0);
        }
    }
}
/*void USBD_MIDI_DataInHandler(uint8_t *usb_rx_buffer,
		uint8_t usb_rx_buffer_length) {
	uint8_t wire, message, channel, messageByte1, messageByte2;
	while (usb_rx_buffer_length && *usb_rx_buffer != 0x00) {
		wire = usb_rx_buffer[0] >> 4;
		message = usb_rx_buffer[1] >> 4;
		channel = usb_rx_buffer[1] & 0x0F;
		messageByte1 = usb_rx_buffer[2];
		messageByte2 = usb_rx_buffer[3];
		usb_rx_buffer += 4;
		usb_rx_buffer_length -= 4;
	}
}*/

// 1. Transmitir Nota ON
void Transmision_nota_on(uint8_t nota, uint8_t velocidad, uint8_t canal) {
    static uint8_t buffer[4]; // <-- LA MAGIA ESTÁ AQUÍ
    buffer[0] = 0x09;
    buffer[1] = 0x90 | canal;
    buffer[2] = nota;
    buffer[3] = velocidad;

    if(USBD_MIDI_GetState(&hUsbDeviceFS) == MIDI_IDLE) {
        USBD_MIDI_SendReport(&hUsbDeviceFS, buffer, 4);
    }
}

// 2. Transmitir Nota OFF
void Transmision_nota_off(uint8_t nota, uint8_t velocidad, uint8_t canal) {
    static uint8_t buffer[4];
    buffer[0] = 0x08;
    buffer[1] = 0x80 | canal;
    buffer[2] = nota;
    buffer[3] = velocidad;

    if(USBD_MIDI_GetState(&hUsbDeviceFS) == MIDI_IDLE) {
        USBD_MIDI_SendReport(&hUsbDeviceFS, buffer, 4);
    }
}

// 3. Transmitir Program Change (Cambio de instrumento)
void Transmision_programchange(uint8_t programa) {
    static uint8_t buffer[4];
    buffer[0] = 0x0C;
    buffer[1] = 0xC0; // Asumimos canal 0 por defecto
    buffer[2] = programa;
    buffer[3] = 0;

    if(USBD_MIDI_GetState(&hUsbDeviceFS) == MIDI_IDLE) {
        USBD_MIDI_SendReport(&hUsbDeviceFS, buffer, 4);
    }
}

// 4. Transmitir Control Change
void Transmision_controlchange(uint8_t numcontrolador, uint8_t valorcontrolador) {
    static uint8_t buffer[4];
    buffer[0] = 0x0B;
    buffer[1] = 0xB0; // Asumimos canal 0 por defecto
    buffer[2] = numcontrolador;
    buffer[3] = valorcontrolador;

    if(USBD_MIDI_GetState(&hUsbDeviceFS) == MIDI_IDLE) {
        USBD_MIDI_SendReport(&hUsbDeviceFS, buffer, 4);
    }
}
/* USER CODE END 4 */

void Error_Handler(void)
{
  __disable_irq();
  while (1)
  {
  }
}
